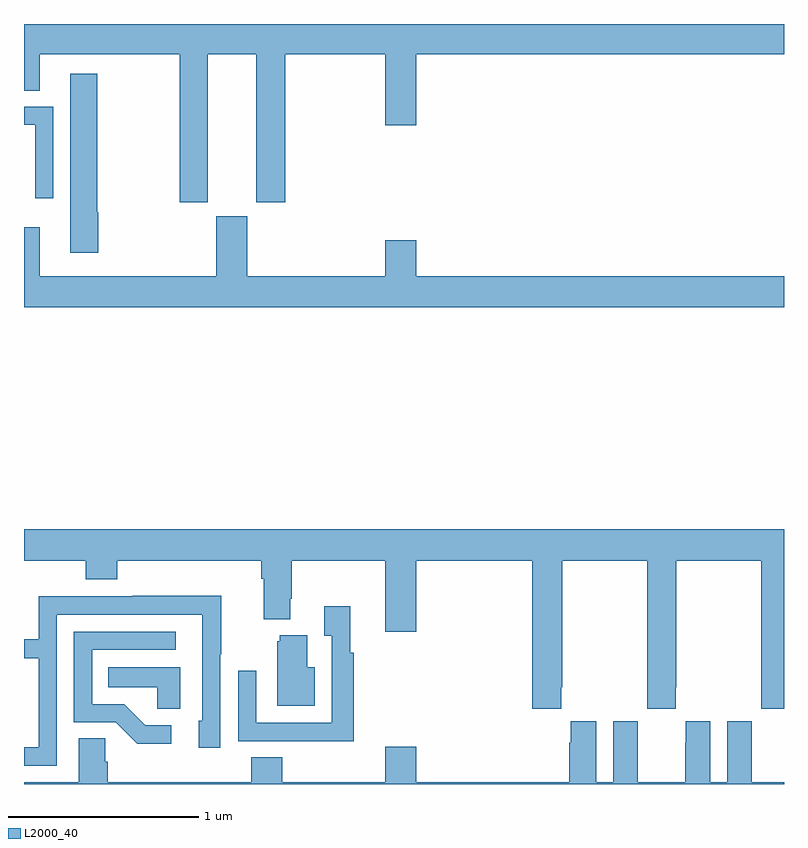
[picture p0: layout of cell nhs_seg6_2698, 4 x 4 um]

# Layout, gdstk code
import gdstk
lib = gdstk.Library(unit=1e-6, precision=1e-09)
def P(c, l, *ps):  # polygons
    for p in ps: c.add(gdstk.Polygon(p, *l))
L2000_40 = (2000, 40)

nhs_seg6_2698 = lib.new_cell('nhs_seg6_2698')
P(nhs_seg6_2698, L2000_40, [(271.966,943.34),(272.222,943.34),(272.222,942.561),(272.375,942.561),(272.375,943.34),(272.9,943.34),(272.9,942.966),(273.064,942.966),(273.064,943.34),(275,943.34),(275,943.5),(271,943.5),(271,943.15),(271.084,943.15),(271.084,943.34),(271.819,943.34),(271.819,942.561),(271.966,942.561)],
  [(271.391,942.509),(271.386,942.509),(271.386,943.237),(271.244,943.237),(271.244,942.297),(271.391,942.297)],
  [(271.155,943.065),(271,943.065),(271,942.969),(271.059,942.969),(271.059,942.582),(271.155,942.582)],
  [(275,942.172),(273.064,942.172),(273.064,942.361),(272.9,942.361),(272.9,942.172),(272.176,942.172),(272.176,942.489),(272.012,942.489),(272.012,942.172),(271.084,942.172),(271.084,942.43),(271,942.43),(271,942.008),(275,942.008)],
  [(273.827,940.009),(273.834,940.009),(273.834,940.676),(274.279,940.676),(274.279,940.009),(274.281,940.009),(274.281,939.897),(274.431,939.897),(274.431,940.009),(274.434,940.009),(274.434,940.676),(274.879,940.676),(274.879,940.009),(274.881,940.009),(274.881,939.897),(275,939.897),(275,940.84),(271,940.84),(271,940.676),(271.325,940.676),(271.325,940.577),(271.49,940.577),(271.49,940.676),(272.249,940.676),(272.249,940.58),(272.261,940.58),(272.261,940.367),(272.401,940.367),(272.401,940.474),(272.409,940.474),(272.409,940.676),(272.9,940.676),(272.9,940.302),(273.064,940.302),(273.064,940.676),(273.674,940.676),(273.674,939.897),(273.827,939.897)],
  [(271.173,940.392),(271.938,940.392),(271.938,939.834),(271.919,939.834),(271.919,939.69),(272.034,939.69),(272.034,940.183),(272.037,940.183),(272.037,940.49),(271.573,940.49),(271.573,940.488),(271.077,940.488),(271.077,940.263),(271,940.263),(271,940.162),(271.077,940.162),(271.077,939.693),(271,939.693),(271,939.597),(271.173,939.597)],
  [(272.735,940.19),(272.717,940.19),(272.717,940.435),(272.579,940.435),(272.579,940.279),(272.619,940.279),(272.619,939.822),(272.223,939.822),(272.223,940.096),(272.127,940.096),(272.127,939.726),(272.443,939.726),(272.443,939.725),(272.735,939.725)],
  [(271.774,939.81),(271.639,939.81),(271.528,939.921),(271.359,939.921),(271.359,940.206),(271.798,940.206),(271.798,940.302),(271.263,940.302),(271.263,939.825),(271.482,939.825),(271.595,939.713),(271.774,939.713)],
  [(272.53,940.114),(272.491,940.114),(272.491,940.282),(272.345,940.282),(272.345,940.251),(272.333,940.251),(272.333,939.911),(272.53,939.911)],
  [(271.822,940.114),(271.444,940.114),(271.444,940.01),(271.701,940.01),(271.701,939.895),(271.822,939.895)],
  [(275,939.508),(274.831,939.508),(274.831,939.716),(274.83,939.716),(274.83,939.829),(274.7,939.829),(274.7,939.508),(274.612,939.508),(274.612,939.829),(274.482,939.829),(274.482,939.716),(274.481,939.716),(274.481,939.508),(274.231,939.508),(274.231,939.716),(274.23,939.716),(274.23,939.829),(274.1,939.829),(274.1,939.508),(274.012,939.508),(274.012,939.829),(273.878,939.829),(273.878,939.716),(273.869,939.716),(273.869,939.508),(273.064,939.508),(273.064,939.697),(272.9,939.697),(272.9,939.508),(272.36,939.508),(272.36,939.641),(272.195,939.641),(272.195,939.508),(271.442,939.508),(271.442,939.617),(271.428,939.617),(271.428,939.74),(271.289,939.74),(271.289,939.508),(271,939.508),(271,939.5),(275,939.5)])

lib.write_gds('nhs_seg6_2698.gds')
